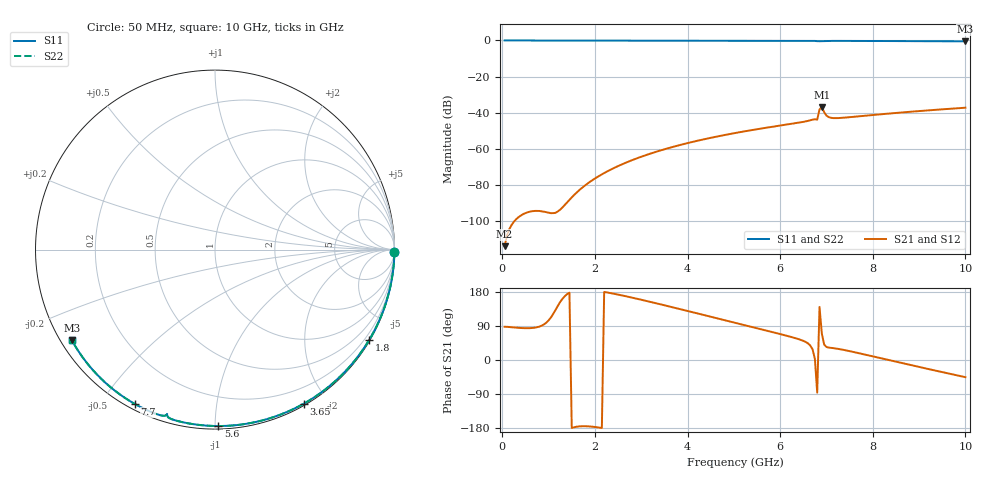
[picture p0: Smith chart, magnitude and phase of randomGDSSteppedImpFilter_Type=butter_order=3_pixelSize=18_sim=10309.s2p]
! freq	dB(S11)	phase(S11)	dB(S12)	phase(S12)
!  dB(S21)	phase(S21)	dB(S22)	phase(S22)
!S-par simulation data
#  GHz  S  DB  R 50
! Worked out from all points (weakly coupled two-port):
!   200 points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, 50 MHz to 10 GHz, reference 50 ohm
!   highest |S21| = -36.87 dB at 6.9 GHz (marker M1); lowest = -113.9 dB at 50 MHz (marker M2)
!   lowest |S11| = -0.5 dB at 10 GHz (marker M3), VSWR 34.69, Z = 1.56 - j14.4 ohm
!   |S11| at or under -10 dB: nowhere
!   |S22| runs from -0.5 to 0.0 dB; largest |S21 - S12| = 0
!   S11 on the Smith chart (normalised r, x): 50 MHz: open; 1.8 GHz: 0.03, -3.68; 3.65 GHz: 0.02, -1.73; 5.6 GHz: 0.02, -1.02; 7.7 GHz: 0.02, -0.61; 10 GHz: 0.03, -0.29
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0.05  -0.00 -0.9  -113.88 87.7  -113.88 87.7  -0.00 -0.9
0.9  -0.02 -15.3  -94.79 93.9  -94.79 93.9  -0.02 -15.3
1.75  -0.04 -29.6  -81.01 -174.7  -81.01 -174.7  -0.04 -29.5
1.8  -0.04 -30.4  -80.00 -174.7  -80.00 -174.7  -0.04 -30.4
2.1  -0.05 -35.3  -74.87 -178.4  -74.87 -178.4  -0.05 -35.3
2.5  -0.05 -41.8  -69.55 172.6  -69.55 172.6  -0.05 -41.8
2.9  -0.06 -48.2  -65.31 161.9  -65.31 161.9  -0.06 -48.2
3.4  -0.07 -56.1  -61.01 147.4  -61.01 147.4  -0.07 -56.1
3.65  -0.08 -60.0  -59.16 140.0  -59.16 140.0  -0.08 -60.0
4.3  -0.10 -69.9  -55.02 120.3  -55.02 120.3  -0.10 -69.9
5.05  -0.12 -81.0  -51.14 97.5  -51.14 97.5  -0.12 -81.0
5.6  -0.15 -89.0  -48.73 80.8  -48.73 80.8  -0.15 -88.9
6.7  -0.23 -104.8  -43.84 28.1  -43.84 28.1  -0.23 -104.7
6.8  -0.38 -106.3  -43.87 -86.1  -43.87 -86.1  -0.39 -106.3
6.85  -0.41 -106.2  -38.17 140.0  -38.17 140.0  -0.41 -106.1
6.9  -0.38 -106.2  -36.87 69.6  -36.87 69.6  -0.37 -106.2
6.95  -0.29 -106.8  -39.69 41.0  -39.69 41.0  -0.29 -106.8
7  -0.26 -107.7  -41.59 34.3  -41.59 34.3  -0.26 -107.7
7.1  -0.24 -109.2  -42.84 32.1  -42.84 32.1  -0.24 -109.2
7.7  -0.27 -117.5  -42.00 18.0  -42.00 18.0  -0.27 -117.4
8.35  -0.33 -126.1  -40.46 -0.2  -40.46 -0.2  -0.33 -126.1
10  -0.50 -147.8  -37.24 -45.4  -37.24 -45.4  -0.50 -147.7
